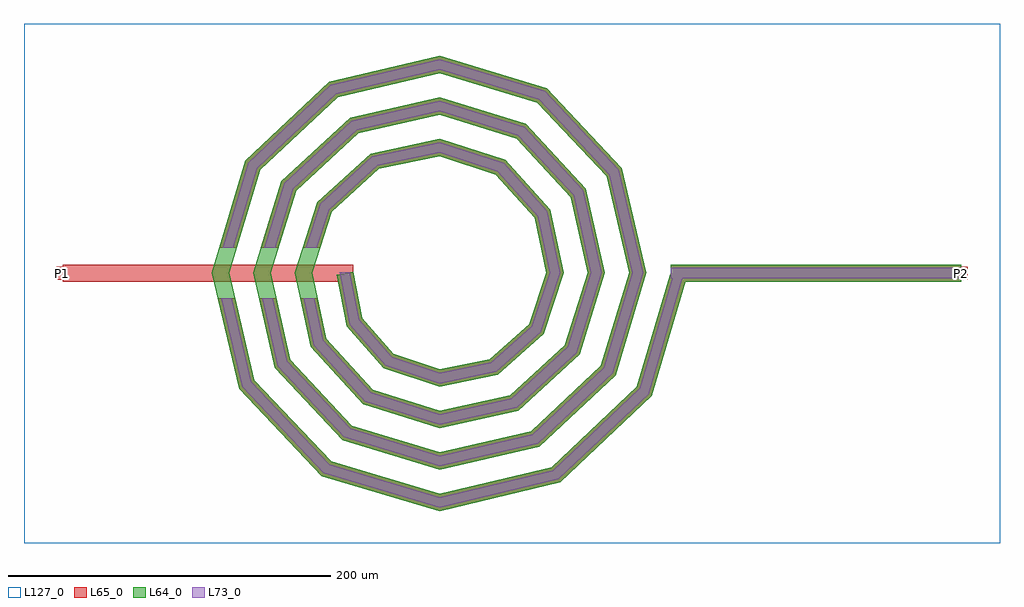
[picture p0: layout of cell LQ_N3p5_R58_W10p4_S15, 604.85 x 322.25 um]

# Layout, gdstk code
import gdstk
lib = gdstk.Library(unit=1e-6, precision=1e-09)
def R(c, l, rs):  # rectangles x0, y0, x1, y1
    for r in rs: c.add(gdstk.rectangle(r[:2], r[2:], *l))
def P(c, l, *ps):  # polygons
    for p in ps: c.add(gdstk.Polygon(p, *l))
L64_0 = (64, 0)
L65_0 = (65, 0)
L73_0 = (73, 0)
L127_0 = (127, 0)

lq_n3p5_r58_w10p4_s15 = lib.new_cell('LQ_N3p5_R58_W10p4_S15')
R(lq_n3p5_r58_w10p4_s15, L64_0, [(143.388,-5.2,323.388,5.2)])
P(lq_n3p5_r58_w10p4_s15, L64_0, [(-47.831,-28.023),(-28.492,-50.031),(0.33,-59.714),(31.204,-53.408),(55.576,-31.73),(66.136,0.3),(58.983,34.391),(34.963,61.125),(0.276,72.558),(-37.582,64.557),(-66.675,38.193),(-78.98,0.255),(-70.128,-40.775),(-41.421,-72.228),(0.237,-85.402),(43.972,-75.699),(77.781,-44.646),(91.824,0.221),(81.268,47.17),(47.87,83.336),(0.207,98.247),(-50.37,86.837),(-88.892,51.092),(-104.669,0.195),(-92.405,-53.571),(-54.313,-94.449),(0.185,-111.092),(56.773,-97.972),(100.006,-57.533),(117.515,0.175),(103.539,59.977),(60.752,105.564),(0.166,123.937),(-63.181,109.105),(-111.122,63.97),(-130.36,0.158),(-114.671,-66.386),(-67.188,-116.68),(0.151,-136.783),(69.591,-120.237),(122.239,-70.405),(143.603,1.481),(153.572,-1.481),(131.414,-76.041),(74.715,-129.707),(0.151,-147.546),(-72.836,-125.848),(-124.148,-71.497),(-141.123,0.158),(-120.282,69.63),(-68.279,118.59),(0.166,134.7),(66.426,114.715),(113.031,65.06),(128.277,0.175),(109.148,-63.222),(61.84,-107.473),(0.185,-121.854),(-60.019,-103.58),(-101.916,-58.62),(-115.43,0.195),(-98.012,56.817),(-55.398,96.359),(0.207,109.007),(53.616,92.443),(90.802,52.175),(102.584,0.221),(86.873,-50.417),(48.95,-85.247),(0.237,-96.16),(-47.219,-81.301),(-79.693,-45.724),(-89.736,0.255),(-75.729,44.024),(-42.495,74.139),(0.276,83.312),(40.831,70.155),(68.588,39.262),(76.888,0.3),(64.578,-37.642),(36.026,-63.038),(0.33,-70.464),(-34.457,-58.998),(-57.491,-32.785),(-63.768,-1.008),(-53.565,1.008)])
R(lq_n3p5_r58_w10p4_s15, L65_0, [(-233.466,-5.2,-53.466,5.2), (143.388,-5.2,323.388,5.2), (-237.466,-4,-229.466,4), (319.388,-4,327.388,4)])
P(lq_n3p5_r58_w10p4_s15, L65_0, [(-114.671,-66.386),(-67.188,-116.68),(0.151,-136.783),(69.591,-120.237),(122.239,-70.405),(143.603,1.481),(153.572,-1.481),(131.414,-76.041),(74.715,-129.708),(0.151,-147.546),(-72.836,-125.848),(-124.148,-71.497),(-137.39,-15.6),(-126.702,-15.6)],
  [(-92.405,-53.571),(-54.313,-94.449),(0.185,-111.092),(56.774,-97.972),(100.006,-57.533),(117.515,0.175),(103.539,59.977),(60.752,105.564),(0.166,123.938),(-63.181,109.105),(-111.122,63.97),(-125.633,15.6),(-136.491,15.6),(-120.282,69.63),(-68.279,118.59),(0.166,134.7),(66.426,114.715),(113.031,65.06),(128.277,0.175),(109.148,-63.222),(61.84,-107.473),(0.185,-121.854),(-60.019,-103.58),(-101.916,-58.62),(-111.801,-15.6),(-101.13,-15.6)],
  [(-70.128,-40.775),(-41.421,-72.228),(0.237,-85.402),(43.972,-75.699),(77.781,-44.646),(91.824,0.221),(81.268,47.17),(47.87,83.336),(0.207,98.247),(-50.37,86.837),(-88.892,51.092),(-99.81,15.6),(-110.691,15.6),(-98.012,56.817),(-55.398,96.359),(0.207,109.007),(53.616,92.443),(90.802,52.175),(102.584,0.221),(86.873,-50.417),(48.95,-85.247),(0.237,-96.16),(-47.219,-81.302),(-79.693,-45.724),(-86.273,-15.6),(-75.628,-15.6)],
  [(-28.492,-50.031),(0.33,-59.715),(31.204,-53.408),(55.577,-31.73),(66.136,0.3),(58.983,34.391),(34.963,61.125),(0.276,72.558),(-37.582,64.557),(-66.675,38.193),(-73.906,15.6),(-84.825,15.6),(-75.729,44.024),(-42.495,74.139),(0.276,83.313),(40.831,70.155),(68.588,39.262),(76.889,0.3),(64.578,-37.642),(36.026,-63.038),(0.33,-70.464),(-34.457,-58.998),(-57.491,-32.785),(-63.768,-1.008),(-53.565,1.008),(-47.831,-28.023)])
R(lq_n3p5_r58_w10p4_s15, L73_0, [(143.388,-3.2,323.388,3.2)])
P(lq_n3p5_r58_w10p4_s15, L73_0, [(-116.494,-67.369),(-68.274,-118.443),(0.093,-138.853),(70.576,-122.058),(124.004,-71.489),(145.52,0.912),(151.655,0.912),(129.649,-74.958),(73.729,-127.886),(0.093,-145.476),(-71.75,-124.085),(-122.326,-70.514),(-135.335,-15.6),(-128.758,-15.6)],
  [(-94.234,-54.542),(-55.41,-96.205),(0.114,-113.162),(57.748,-99.799),(101.764,-58.627),(119.584,0.108),(105.364,60.954),(61.843,107.323),(0.102,126.007),(-64.161,110.929),(-112.883,65.059),(-127.721,15.6),(-134.403,15.6),(-118.52,68.542),(-67.299,116.766),(0.102,132.63),(65.335,112.955),(111.206,64.082),(126.207,0.108),(107.39,-62.128),(60.866,-105.646),(0.114,-119.784),(-58.922,-101.824),(-100.087,-57.649),(-109.749,-15.6),(-103.182,-15.6)],
  [(-71.968,-41.727),(-42.536,-73.973),(0.146,-87.471),(44.929,-77.535),(79.53,-45.756),(93.894,0.136),(83.102,48.133),(48.975,85.088),(0.128,100.316),(-51.337,88.668),(-90.646,52.193),(-101.903,15.6),(-108.599,15.6),(-96.258,55.716),(-54.431,94.528),(0.128,106.938),(52.511,90.691),(88.969,51.213),(100.515,0.136),(85.124,-49.307),(47.993,-83.411),(0.146,-94.091),(-46.104,-79.557),(-77.853,-44.772),(-84.226,-15.6),(-77.675,-15.6)],
  [(-29.639,-51.756),(0.203,-61.782),(32.132,-55.26),(57.308,-32.867),(68.204,0.185),(60.83,35.328),(36.092,62.861),(0.17,74.626),(-38.526,66.399),(-68.416,39.315),(-76.006,15.6),(-82.726,15.6),(-73.988,42.903),(-41.55,72.297),(0.17,81.244),(39.703,68.418),(66.741,38.326),(74.821,0.185),(62.847,-36.505),(35.099,-61.186),(0.203,-68.397),(-33.31,-57.274),(-55.633,-31.869),(-61.806,0.62),(-55.527,0.62),(-49.688,-28.939)])
R(lq_n3p5_r58_w10p4_s15, L127_0, [(-257.466,-167.546,347.388,154.7)])
lq_n3p5_r58_w10p4_s15.add(gdstk.Label('P2', (323.388,0), layer=65, texttype=0))
lq_n3p5_r58_w10p4_s15.add(gdstk.Label('P1', (-233.466,0), layer=65, texttype=0))
lq_n3p5_r58_w10p4_s15.add(gdstk.Label('P2', (327.388,0), layer=145, texttype=0))
lq_n3p5_r58_w10p4_s15.add(gdstk.Label('P1', (-237.466,0), layer=145, texttype=0))

lib.write_gds('LQ_N3p5_R58_W10p4_S15.gds')
